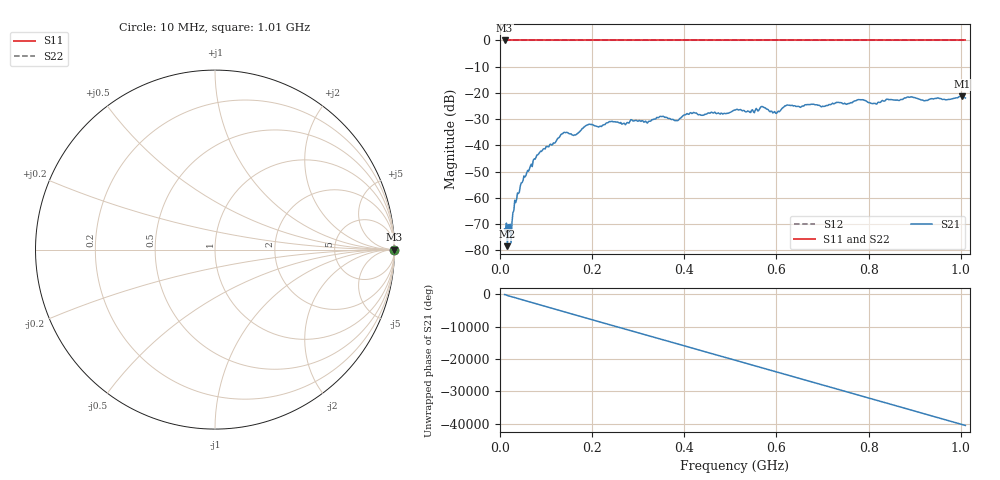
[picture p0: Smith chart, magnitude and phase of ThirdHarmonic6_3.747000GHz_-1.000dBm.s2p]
! 8/17/2025 12:50:36 PM
! C:\ANRITSUVNA\TEMP\TEMP.S2P
! CHANNEL.1
! TR.MEASUREMENT
! RAW.DATA
! RF.CORRECTION.OFF
! AVERAGING.OFF
! IF.BANDWIDTH: 5KHZ
! SWEEPTYPE:  FREQ.SWEEP(Linear)
! Reference Plane Port Info
! PORT:  PORT1  PORT2
! DISTANCE:  0  m  0  m
! TIME:  0  s  0  s
! PHASE.OFFSET:  0  deg.  0  deg.
! LOSS:  0  dB  0  dB
! REF.LOSS:  0  dB  0  dB
! REF.FREQ:  0  Hz  0  Hz
! Power Info
! POWER:  -20  dBm  -20  dBm
! EFF.POWER:  -20  dBm  -20  dBm
! SOURCE.ATTEN:  0  dB  0  dB
! TEST.ATTEN:  0  dB  0  dB
# GHZ S RI R 50.0
! FREQ.GHZ  S11RE  S11IM  S21RE  S21IM  S12RE  S12IM  S22RE  S22IM
!; PortSelection: Port_12
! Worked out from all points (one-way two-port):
!   501 points, 10 MHz to 1.01 GHz, reference 50 ohm
!   highest |S21| = -21.27 dB at 1.002 GHz (marker M1); lowest = -78.5 dB at 16 MHz (marker M2)
!   lowest |S11| = 0.0 dB at 10 MHz (marker M3)
!   |S11| at or under -10 dB: nowhere
!   |S22| runs from 0.0 to 0.0 dB; largest |S21 - S12| = 1.1
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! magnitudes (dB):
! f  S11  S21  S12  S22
! 10 MHz  0.0  -71.9  0.0  0.0
! 16 MHz  0.0  -78.5  0.0  0.0
! 20 MHz  0.0  -73.2  0.0  0.0
! 34 MHz  0.0  -61.9  0.0  0.0
! 48 MHz  0.0  -54.2  0.0  0.0
! 76 MHz  0.0  -45.3  0.0  0.0
! 136 MHz  0.0  -35.6  0.0  0.0
! 162 MHz  0.0  -36.0  0.0  0.0
! 178 MHz  0.0  -33.7  0.0  0.0
! 194 MHz  0.0  -31.9  0.0  0.0
! 322 MHz  0.0  -30.9  0.0  0.0
! 344 MHz  0.0  -29.5  0.0  0.0
! 384 MHz  0.0  -30.6  0.0  0.0
! 416 MHz  0.0  -27.9  0.0  0.0
! 510 MHz  0.0  -26.5  0.0  0.0
! 570 MHz  0.0  -25.3  0.0  0.0
! 596 MHz  0.0  -27.1  0.0  0.0
! 622 MHz  0.0  -24.7  0.0  0.0
! 678 MHz  0.0  -24.4  0.0  0.0
! 844 MHz  0.0  -22.6  0.0  0.0
! 1.002 GHz  0.0  -21.3  0.0  0.0
! 1.01 GHz  0.0  -22.0  0.0  0.0
